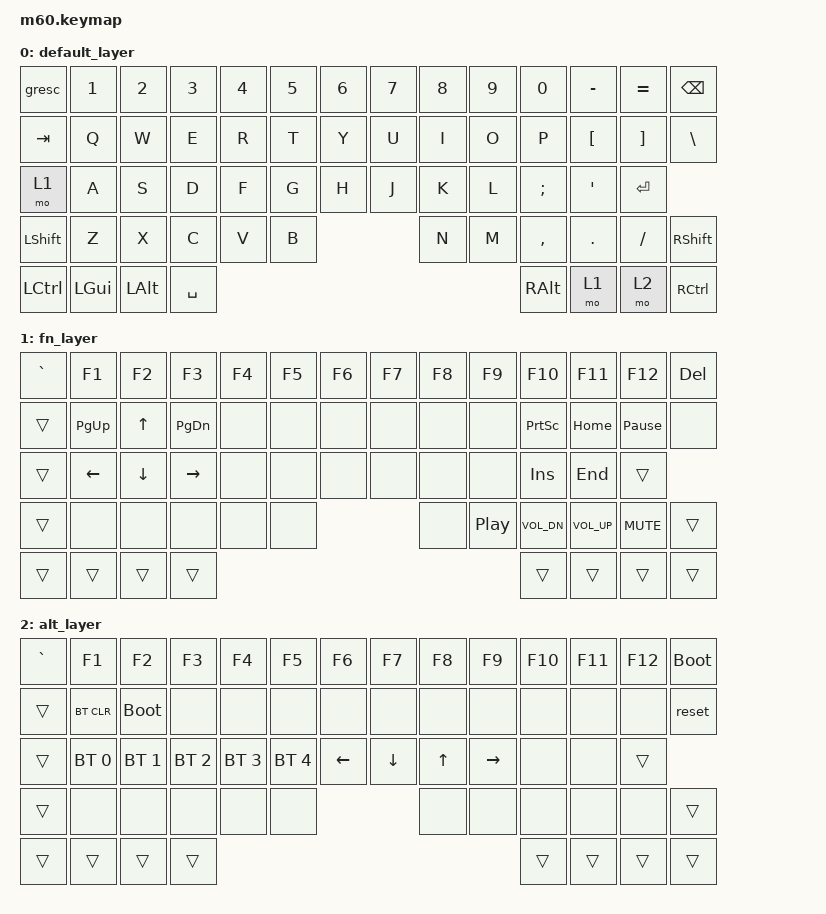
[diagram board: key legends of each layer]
/*
 * Copyright (c) 2020 The ZMK Contributors
 *
 * SPDX-License-Identifier: MIT
 */

#include <behaviors.dtsi>
#include <dt-bindings/zmk/keys.h>
#include <dt-bindings/zmk/bt.h>

/ {
	keymap0: keymap {
		compatible = "zmk,keymap";

		default_layer {
// ------------------------------------------------------------------------------------------
// | ESC |  1  |  2  |  3  |  4  |  5  |  6  |  7  |  8  |  9  |  0  |  -  |  =  |   BKSP   |
// | TAB  |  Q  |  W  |  E  |  R  |  T  |  Y  |  U  |  I  |  O  |  P  |  [  |  ]  |    \    |
// | MO(1)  |  A  |  S  |  D  |  F  |  G  |  H  |  J  |  K  |  L  |  ;  |  '  |     ENTER    |
// |  SHIFT  |  Z  |  X  |  C  |  V  |  B  |  N  |  M  |  ,  |  .  |  /  |      SHIFT       |
// |  CTL  |  WIN  |  ALT  |            SPACE               | ALT | MO(1) |  MO(2)  | CTRL    |
// ------------------------------------------------------------------------------------------
			bindings = <
	&gresc &kp N1 &kp N2 &kp N3 &kp N4 &kp N5 &kp N6 &kp N7 &kp   N8  &kp  N9 &kp  N0  &kp MINUS &kp EQUAL &kp BSPC
	&kp TAB  &kp Q  &kp W  &kp E  &kp R  &kp T  &kp Y  &kp U  &kp   I   &kp  O  &kp   P  &kp LBKT &kp RBKT  &kp BSLH
	&mo 1    &kp A  &kp S  &kp D  &kp F  &kp G  &kp H  &kp J  &kp   K   &kp  L  &kp SEMI &kp SQT           &kp RET
	&kp LSHFT  &kp Z  &kp X  &kp C  &kp V  &kp B  &kp N  &kp M  &kp COMMA &kp DOT &kp FSLH         &kp RSHFT
	&kp LCTRL &kp LGUI &kp LALT               &kp SPACE                 &kp  RALT  &mo  1  &mo 2  &kp  RCTRL
			>;
		};

		fn_layer {
			bindings = <
&kp GRAVE  &kp F1     &kp F2     &kp F3     &kp F4     &kp F5     &kp F6     &kp F7     &kp F8     &kp F9     &kp F10    &kp F11    &kp F12    &kp DEL
&trans     &kp PG_UP  &kp UP     &kp PG_DN  &none      &none      &none      &none      &none      &none      &kp PSCRN  &kp HOME   &kp PAUSE_BREAK  &none
&trans     &kp LEFT   &kp DOWN   &kp RIGHT  &none      &none      &none      &none      &none      &none      &kp INS    &kp END      &trans
&trans                &none      &none      &none      &none      &none      &none      &kp C_PP   &kp C_VOL_DN  &kp C_VOL_UP &kp C_MUTE     &trans
&trans       &trans       &trans       &trans                                                                     &trans     &trans     &trans     &trans
			>;
		};

		alt_layer {
			bindings = <
&kp GRAVE  &kp F1     &kp F2     &kp F3     &kp F4     &kp F5     &kp F6     &kp F7     &kp F8     &kp F9     &kp F10    &kp F11    &kp F12    &bootloader
&trans         &bt BT_CLR &bootloader      &none      &none      &none      &none      &none      &none      &none      &none      &none      &none      &reset
&trans           &bt BT_SEL 0 &bt BT_SEL 1 &bt BT_SEL 2 &bt BT_SEL 3 &bt BT_SEL 4 &kp LEFT   &kp DOWN   &kp UP   &kp RIGHT   &none      &none      &trans
&trans                &none      &none      &none      &none      &none      &none      &none      &none      &none      &none      &trans
&trans       &trans       &trans       &trans                                                                     &trans     &trans     &trans     &trans
			>;
		};
	};
};
